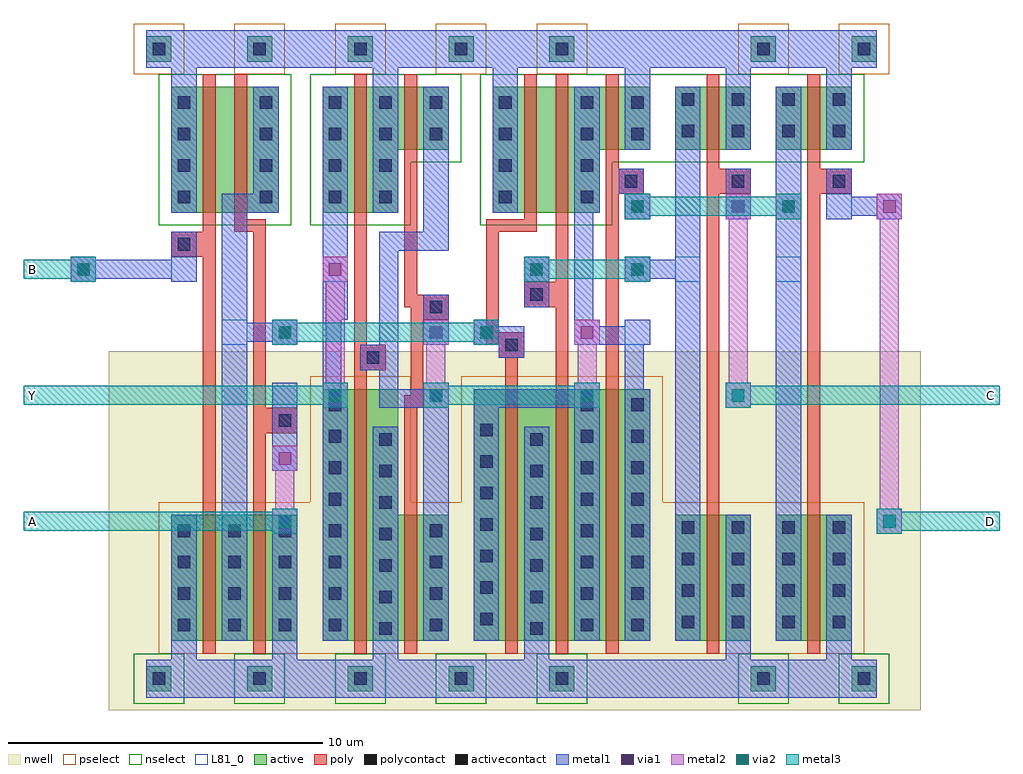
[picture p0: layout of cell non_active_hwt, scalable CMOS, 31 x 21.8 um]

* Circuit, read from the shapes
.subckt non_active_hwt A B C D Y gnd vdd
M1 n1 B gnd gnd nfet w=4u l=0.4u
M2 AOI21X1_2/A A n1 gnd nfet w=4u l=0.4u
M3 gnd n2 Y gnd nfet w=4u l=0.4u
M4 n2 AOI21X1_2/Y gnd gnd nfet w=2u l=0.4u
M5 n3 AOI21X1_2/A gnd gnd nfet w=4u l=0.4u
M6 AOI21X1_2/Y AOI21X1_2/B n3 gnd nfet w=4u l=0.4u
M7 gnd INVX1_1/A AOI21X1_2/Y gnd nfet w=2u l=0.4u
M8 gnd C AOI21X1_2/B gnd nfet w=2u l=0.4u
M9 gnd D INVX1_1/A gnd nfet w=2u l=0.4u
M10 AOI21X1_2/A B vdd vdd pfet w=4u l=0.4u
M11 vdd A AOI21X1_2/A vdd pfet w=4u l=0.4u
M12 vdd n2 Y vdd pfet w=8u l=0.4u
M13 n2 AOI21X1_2/Y vdd vdd pfet w=4u l=0.4u
M14 vdd AOI21X1_2/A n4 vdd pfet w=8u l=0.4u
M15 n4 AOI21X1_2/B vdd vdd pfet w=8u l=0.4u
M16 AOI21X1_2/Y INVX1_1/A n4 vdd pfet w=8u l=0.4u
M17 vdd C AOI21X1_2/B vdd pfet w=4u l=0.4u
M18 vdd D INVX1_1/A vdd pfet w=4u l=0.4u
.ends

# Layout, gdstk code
from math import pi, radians
import gdstk
lib = gdstk.Library(unit=1e-6, precision=1e-09)
def R(c, l, rs):  # rectangles x0, y0, x1, y1
    for r in rs: c.add(gdstk.rectangle(r[:2], r[2:], *l))
def A(c, l, x, y, w, h, nx, ny, dx, dy):  # array of equal rectangles
    R(c, l, [(x+i*dx, y+j*dy, x+i*dx+w, y+j*dy+h) for i in range(nx) for j in range(ny)])
nwell = (42, 0)
active = (43, 0)
pselect = (44, 0)
nselect = (45, 0)
poly = (46, 0)
polycontact = (47, 0)
activecontact = (48, 0)
metal1 = (49, 0)
via1 = (50, 0)
metal2 = (51, 0)
via2 = (61, 0)
metal3 = (62, 0)
L81_0 = (81, 0)

invx1 = lib.new_cell('INVX1')
R(invx1, nwell, [(-1.8,9.6,5.2,21)])
R(invx1, active, [(-0.4,-0.4,0.4,0.4), (0.4,1.2,2.8,3.2), (0.4,14.8,2.8,18.8), (-0.4,19.6,0.4,20.4)])
R(invx1, pselect, [(-0.8,-0.8,0.8,0.8), (0,14.4,3.2,19.2)])
R(invx1, nselect, [(0,0.8,3.2,3.6), (-0.8,19.2,0.8,20.8)])
R(invx1, poly, [(1.4,0.8,1.8,3.8), (0.4,3.8,1.8,4.6), (1.4,4.6,1.8,19.2)])
R(invx1, polycontact, [(0.6,4,1,4.4)])
A(invx1, activecontact, 0.6, 15, 0.4, 0.4, 1, 4, 0, 1)
A(invx1, activecontact, 2.2, 15, 0.4, 0.4, 1, 4, 0, 1)
R(invx1, activecontact, [(-0.2,-0.2,0.2,0.2), (0.6,1.4,1,1.8), (2.2,1.4,2.6,1.8), (0.6,2.4,1,2.8), (2.2,2.4,2.6,2.8), (-0.2,19.8,0.2,20.2)])
R(invx1, metal1, [(-0.4,-0.6,3.6,0.6), (0.4,0.6,1.2,3.2), (2,1.2,2.8,18.8), (0.4,3.8,1.2,5.4), (0.4,14.8,1.2,19.4), (-0.4,19.4,3.6,20.6)])
R(invx1, L81_0, [(0.4,4.6,1.2,5.4), (2,6.6,2.8,7.4)])
invx1.add(gdstk.Label('A', (0.8,5), layer=109, texttype=0))
invx1.add(gdstk.Label('Y', (2.4,7), layer=109, texttype=0))
invx1.add(gdstk.Label('vdd', (0.8,20), layer=109, texttype=0))
invx1.add(gdstk.Label('gnd', (0.8,0), layer=109, texttype=0))

aoi21x1 = lib.new_cell('AOI21X1')
R(aoi21x1, nwell, [(-1.4,9.6,7.8,21)])
R(aoi21x1, active, [(-0.4,-0.4,0.4,0.4), (2.8,-0.4,3.6,0.4), (1,1.2,6,3.2), (1,3.2,4.4,5.2), (0.4,10.8,6,18.8), (-0.4,19.6,0.4,20.4), (2.8,19.6,3.6,20.4)])
R(aoi21x1, pselect, [(-0.8,-0.8,0.8,0.8), (2.4,-0.8,4,0.8), (0,10.4,6.4,19.2)])
R(aoi21x1, nselect, [(0.6,0.8,6.4,3.6), (0.6,3.6,4.8,5.6), (-0.8,19.2,0.8,20.8), (2.4,19.2,4,20.8)])
R(aoi21x1, poly, [(2,0.8,2.4,5.4), (3,0.8,3.4,7.4), (4.6,0.8,5,3.8), (4.6,3.8,5.8,4.6), (4.6,4.6,5,19.2), (0.8,5.4,2.4,5.8), (0.8,5.8,1.2,9), (2,7.4,3.4,8.2), (3,8.2,3.4,19.2), (0.8,9,2,9.4), (1.2,9.4,2,9.8), (1.4,9.8,1.8,19.2)])
R(aoi21x1, polycontact, [(5.2,4,5.6,4.4), (2.2,7.6,2.6,8), (1.4,9.2,1.8,9.6)])
A(aoi21x1, activecontact, 1.2, 1.5, 0.4, 0.4, 1, 4, 0, 1)
A(aoi21x1, activecontact, 3.8, 1.5, 0.4, 0.4, 1, 4, 0, 1)
A(aoi21x1, activecontact, 3.8, 11.1, 0.4, 0.4, 1, 8, 0, 1)
A(aoi21x1, activecontact, 5.4, 11.1, 0.4, 0.4, 1, 8, 0, 1)
A(aoi21x1, activecontact, 0.6, 11.9, 0.4, 0.4, 1, 7, 0, 1)
A(aoi21x1, activecontact, 2.2, 12.2, 0.4, 0.4, 1, 7, 0, 1)
R(aoi21x1, activecontact, [(-0.2,-0.2,0.2,0.2), (3,-0.2,3.4,0.2), (5.4,1.5,5.8,1.9), (5.4,2.5,5.8,2.9), (-0.2,19.8,0.2,20.2), (3,19.8,3.4,20.2)])
R(aoi21x1, metal1, [(-0.4,-0.6,6.8,0.6), (1,0.6,1.8,5.2), (5.2,0.6,6,3.2), (3.6,1.2,4.4,5.2), (5,3.8,5.8,4.6), (5.2,4.6,6,5.4), (3.6,5.2,4.2,8.8), (2,6.6,2.8,8.2), (0.4,8.6,1.2,8.8), (5.2,8.6,6,8.8), (0.4,8.8,2,9.4), (3.6,8.8,6,9.4), (1.2,9.4,2,9.8), (5.2,9.4,5.8,10.8), (0.4,10.8,4.4,11.4), (5.2,10.8,6,18.8), (0.4,11.4,1.2,18.8), (3.6,11.4,4.4,18.8), (2,12,2.8,19.4), (-0.4,19.4,6.8,20.6)])
R(aoi21x1, L81_0, [(5.2,4.6,6,5.4), (2,6.6,2.8,7.4), (0.4,8.6,1.2,9.4), (5.2,8.6,6,9.4)])
aoi21x1.add(gdstk.Label('gnd', (0.8,0), layer=109, texttype=0))
aoi21x1.add(gdstk.Label('vdd', (0.8,20), layer=109, texttype=0))
aoi21x1.add(gdstk.Label('A', (0.8,9), layer=109, texttype=0))
aoi21x1.add(gdstk.Label('B', (2.4,7), layer=109, texttype=0))
aoi21x1.add(gdstk.Label('Y', (5.6,9), layer=109, texttype=0))
aoi21x1.add(gdstk.Label('C', (5.6,5), layer=109, texttype=0))

bufx2 = lib.new_cell('BUFX2')
R(bufx2, nwell, [(-1,9.6,5.6,21)])
R(bufx2, active, [(-0.4,-0.4,0.4,0.4), (2.8,-0.4,3.6,0.4), (0.4,1.2,4.4,3.2), (2,3.2,4.4,5.2), (2,10.8,4.4,14.8), (0.4,14.8,4.4,18.8), (-0.4,19.6,0.4,20.4), (2.8,19.6,3.6,20.4)])
R(bufx2, pselect, [(-0.8,-0.8,0.8,0.8), (2.4,-0.8,4,0.8), (1.6,10.4,4.8,14.4), (0,14.4,4.8,19.2)])
R(bufx2, nselect, [(0,0.8,4.8,3.6), (1.6,3.6,4.8,5.6), (-0.8,19.2,0.8,20.8), (2.4,19.2,4,20.8)])
R(bufx2, poly, [(1.4,0.8,1.8,7.8), (3,0.8,3.4,9.4), (0.4,7.8,1.8,8.2), (0.4,8.2,1.6,8.6), (1.2,8.6,1.6,11), (2.4,9.4,3.4,10.2), (3,10.2,3.4,19.2), (1.2,11,1.8,11.4), (1.4,11.4,1.8,19.2)])
R(bufx2, polycontact, [(0.6,8,1,8.4), (2.6,9.6,3,10)])
A(bufx2, activecontact, 0.6, 1.5, 0.4, 0.4, 3, 2, 1.6, 1)
A(bufx2, activecontact, 3.8, 11.1, 0.4, 0.4, 1, 8, 0, 1)
A(bufx2, activecontact, 2.2, 12.2, 0.4, 0.4, 1, 7, 0, 1)
A(bufx2, activecontact, 0.6, 15.1, 0.4, 0.4, 1, 4, 0, 1)
R(bufx2, activecontact, [(-0.2,-0.2,0.2,0.2), (3,-0.2,3.4,0.2), (2.2,3.5,2.6,3.9), (3.8,3.5,4.2,3.9), (2.2,4.5,2.6,4.9), (3.8,4.5,4.2,4.9), (-0.2,19.8,0.2,20.2), (3,19.8,3.4,20.2)])
R(bufx2, metal1, [(-0.4,-0.6,5.2,0.6), (2,0.6,2.8,5.2), (0.4,1.2,1.2,5.8), (3.6,1.2,4.4,8.6), (0.4,5.8,2.6,6.4), (2,6.4,2.6,9.4), (0.4,7.8,1.2,9.4), (3.8,8.6,4.4,10.8), (2,9.4,3.2,10.2), (2,10.2,2.6,10.8), (0.4,10.8,2.6,11.4), (3.6,10.8,4.4,18.8), (0.4,11.4,1.2,18.8), (2,12,2.8,19.4), (-0.4,19.4,5.2,20.6)])
R(bufx2, L81_0, [(3.6,6.6,4.4,7.4), (0.4,8.6,1.2,9.4)])
bufx2.add(gdstk.Label('vdd', (0.8,20), layer=109, texttype=0))
bufx2.add(gdstk.Label('gnd', (0.8,0), layer=109, texttype=0))
bufx2.add(gdstk.Label('A', (0.8,9), layer=109, texttype=0))
bufx2.add(gdstk.Label('Y', (4,7), layer=109, texttype=0))

nand2x1 = lib.new_cell('NAND2X1')
R(nand2x1, nwell, [(-1.6,9.6,6.4,21)])
R(nand2x1, active, [(-0.4,-0.4,0.4,0.4), (2.8,-0.4,3.6,0.4), (0.4,1.2,3.8,5.2), (0.4,14.8,4.4,18.8), (-0.4,19.6,0.4,20.4), (2.8,19.6,3.6,20.4)])
R(nand2x1, pselect, [(-0.8,-0.8,0.8,0.8), (2.4,-0.8,4,0.8), (0,14.4,4.8,19.2)])
R(nand2x1, nselect, [(0,0.8,4.2,5.6), (-0.8,19.2,0.8,20.8), (2.4,19.2,4,20.8)])
R(nand2x1, poly, [(1.4,0.8,1.8,5.8), (2.4,0.8,2.8,5.4), (2.4,5.4,3.4,5.8), (0.4,5.8,1.8,6.6), (3,5.8,3.4,11.4), (1.4,6.6,1.8,19.2), (3,11.4,4.4,12.2), (3,12.2,3.4,19.2)])
R(nand2x1, polycontact, [(0.6,6,1,6.4), (3.8,11.6,4.2,12)])
A(nand2x1, activecontact, 0.6, 1.5, 0.4, 0.4, 1, 4, 0, 1)
A(nand2x1, activecontact, 3.2, 1.5, 0.4, 0.4, 1, 4, 0, 1)
A(nand2x1, activecontact, 0.6, 15.1, 0.4, 0.4, 3, 4, 1.6, 1)
R(nand2x1, activecontact, [(-0.2,-0.2,0.2,0.2), (3,-0.2,3.4,0.2), (-0.2,19.8,0.2,20.2), (3,19.8,3.4,20.2)])
R(nand2x1, metal1, [(-0.4,-0.6,5.2,0.6), (0.4,0.6,1.2,5.2), (3,1.2,3.8,4.6), (2,4.6,3.8,5.2), (2,5.2,2.8,18.8), (0.4,5.8,1.2,7.4), (3.6,10.6,4.4,12.2), (0.4,14.8,1.2,19.4), (3.6,14.8,4.4,19.4), (-0.4,19.4,5.2,20.6)])
R(nand2x1, L81_0, [(0.4,6.6,1.2,7.4), (2,8.6,2.8,9.4), (3.6,10.6,4.4,11.4)])
nand2x1.add(gdstk.Label('vdd', (0.8,20), layer=109, texttype=0))
nand2x1.add(gdstk.Label('Y', (2.4,9), layer=109, texttype=0))
nand2x1.add(gdstk.Label('gnd', (0.8,0), layer=109, texttype=0))
nand2x1.add(gdstk.Label('A', (0.8,7), layer=109, texttype=0))
nand2x1.add(gdstk.Label('B', (4,11), layer=109, texttype=0))

non_active_hwt = lib.new_cell('non_active_hwt')
R(non_active_hwt, metal1, [(4.4,7.6,5.2,8.8), (4.4,11.6,5.2,11.7), (9.2,11.6,10,12.4), (10.8,11.6,11.6,12.4), (14,11.6,14.8,12.4), (2.9,11.7,5.2,12.3), (4.4,12.3,5.2,12.4), (-2,13.6,-1.2,13.7), (6,13.6,6.8,14.4), (12.4,13.6,13.2,14.4), (15.6,13.6,16.4,13.7), (-2,13.7,1.9,14.3), (15.6,13.7,17.9,14.3), (-2,14.3,-1.2,14.4), (15.6,14.3,16.4,14.4), (15.6,15.6,16.4,16.4), (18.8,15.6,19.6,16.4), (20.4,15.6,21.2,16.4), (23.6,15.6,24.4,15.7), (22.1,15.7,24.4,16.3), (23.6,16.3,24.4,16.4)])
R(non_active_hwt, via1, [(4.6,7.8,5,8.2), (4.6,11.8,5,12.2), (9.4,11.8,9.8,12.2), (11,11.8,11.4,12.2), (14.2,11.8,14.6,12.2), (-1.8,13.8,-1.4,14.2), (6.2,13.8,6.6,14.2), (12.6,13.8,13,14.2), (15.8,13.8,16.2,14.2), (15.8,15.8,16.2,16.2), (19,15.8,19.4,16.2), (20.6,15.8,21,16.2), (23.8,15.8,24.2,16.2)])
A(non_active_hwt, metal2, 9.2, 9.6, 0.8, 0.8, 3, 1, 4.8, 0)
R(non_active_hwt, metal2, [(4.4,5.6,5.2,6.4), (23.6,5.6,24.4,6.4), (4.5,6.4,5.1,7.6), (23.7,6.4,24.3,15.6), (4.4,7.6,5.2,8.4), (6,9.6,6.8,10.4), (6.1,10.4,6.7,13.6), (9.3,10.4,9.9,11.6), (14.1,10.4,14.7,11.6), (18.9,10.4,19.5,15.6), (4.4,11.6,5.2,12.4), (9.2,11.6,10,12.4), (10.8,11.6,11.6,12.4), (14,11.6,14.8,12.4), (-2,13.6,-1.2,14.4), (6,13.6,6.8,14.4), (12.4,13.6,13.2,14.4), (15.6,13.6,16.4,14.4), (15.6,15.6,16.4,16.4), (18.8,15.6,19.6,16.4), (20.4,15.6,21.2,16.4), (23.6,15.6,24.4,16.4)])
A(non_active_hwt, via2, 9.4, 9.8, 0.4, 0.4, 3, 1, 4.8, 0)
R(non_active_hwt, via2, [(4.6,5.8,5,6.2), (23.8,5.8,24.2,6.2), (6.2,9.8,6.6,10.2), (4.6,11.8,5,12.2), (11,11.8,11.4,12.2), (-1.8,13.8,-1.4,14.2), (12.6,13.8,13,14.2), (15.8,13.8,16.2,14.2), (15.8,15.8,16.2,16.2), (20.6,15.8,21,16.2)])
A(non_active_hwt, metal3, 9.2, 9.6, 0.8, 0.1, 3, 2, 4.8, 0.7)
R(non_active_hwt, metal3, [(4.4,5.6,5.2,5.7), (23.6,5.6,24.4,5.7), (-3.5,5.7,5.2,6.3), (23.6,5.7,27.5,6.3), (4.4,6.3,5.2,6.4), (23.6,6.3,24.4,6.4), (6,9.6,6.8,9.7), (-3.5,9.7,6.8,10.3), (9.2,9.7,14.8,10.3), (18.8,9.7,27.5,10.3), (6,10.3,6.8,10.4), (4.4,11.6,5.2,11.7), (10.8,11.6,11.6,11.7), (4.4,11.7,11.6,12.3), (4.4,12.3,5.2,12.4), (10.8,12.3,11.6,12.4), (-2,13.6,-1.2,13.7), (12.4,13.6,13.2,13.7), (15.6,13.6,16.4,13.7), (-3.5,13.7,-1.2,14.3), (12.4,13.7,16.4,14.3), (-2,14.3,-1.2,14.4), (12.4,14.3,13.2,14.4), (15.6,14.3,16.4,14.4), (15.6,15.6,16.4,15.7), (20.4,15.6,21.2,15.7), (15.6,15.7,21.2,16.3), (15.6,16.3,16.4,16.4), (20.4,16.3,21.2,16.4)])
non_active_hwt.add(gdstk.Reference(invx1, (23.2,21), rotation=pi))
non_active_hwt.add(gdstk.Reference(invx1, (20,21), rotation=pi))
non_active_hwt.add(gdstk.Reference(aoi21x1, (10.4,21), x_reflection=True))
non_active_hwt.add(gdstk.Reference(bufx2, (10.4,21), rotation=pi))
non_active_hwt.add(gdstk.Reference(nand2x1, (0.8,21), x_reflection=True))
non_active_hwt.add(gdstk.Label('A', (-3.2,6), layer=62, texttype=0))
non_active_hwt.add(gdstk.Label('B', (-3.2,14), layer=62, texttype=0))
non_active_hwt.add(gdstk.Label('C', (27.2,10), layer=62, texttype=0))
non_active_hwt.add(gdstk.Label('D', (27.2,6), layer=62, texttype=0))
non_active_hwt.add(gdstk.Label('Y', (-3.2,10), layer=62, texttype=0))

lib.write_gds('non_active_hwt.gds')
